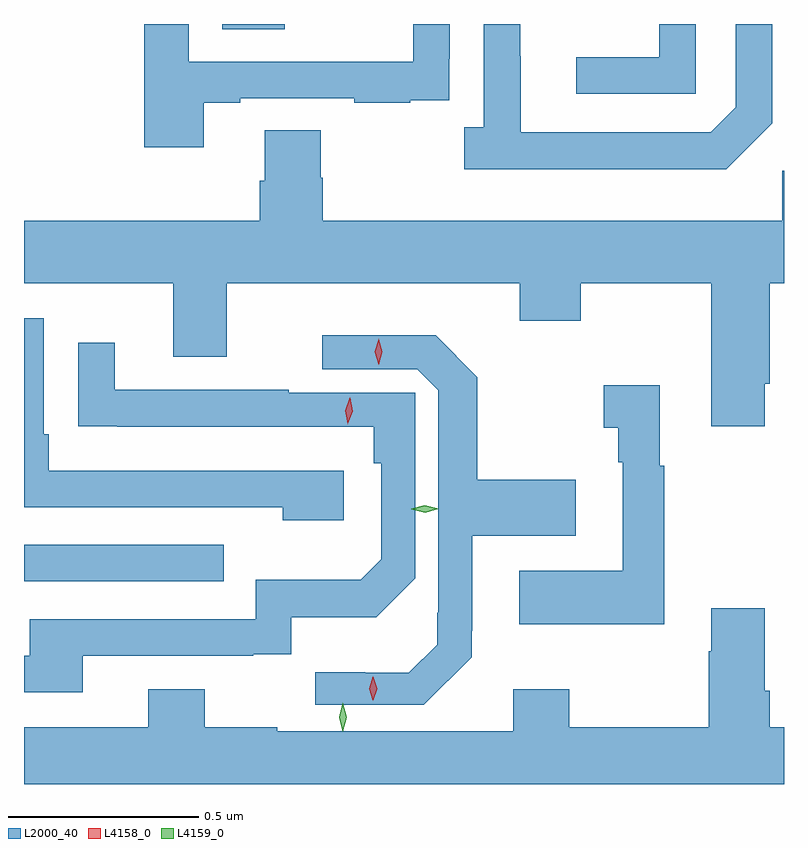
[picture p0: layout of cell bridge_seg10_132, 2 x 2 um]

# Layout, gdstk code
import gdstk
lib = gdstk.Library(unit=1e-6, precision=1e-09)
def R(c, l, rs):  # rectangles x0, y0, x1, y1
    for r in rs: c.add(gdstk.rectangle(r[:2], r[2:], *l))
def P(c, l, *ps):  # polygons
    for p in ps: c.add(gdstk.Polygon(p, *l))
L2000_40 = (2000, 40)
L4158_0 = (4158, 0)
L4159_0 = (4159, 0)

bridge_seg10_132 = lib.new_cell('bridge_seg10_132')
R(bridge_seg10_132, L2000_40, [(360.824,1315.515,361.349,1315.611), (361.346,1316.968,361.51,1316.982)])
P(bridge_seg10_132, L2000_40, [(362.793,1316.721),(362.793,1316.982),(362.697,1316.982),(362.697,1316.763),(362.631,1316.697),(362.131,1316.697),(362.131,1316.897),(362.13,1316.897),(362.13,1316.982),(362.034,1316.982),(362.034,1316.71),(361.983,1316.71),(361.983,1316.6),(362.672,1316.6)],
  [(362.592,1316.982),(362.496,1316.982),(362.496,1316.895),(362.277,1316.895),(362.277,1316.799),(362.592,1316.799)],
  [(361.297,1316.775),(361.393,1316.775),(361.393,1316.787),(361.693,1316.787),(361.693,1316.775),(361.841,1316.775),(361.841,1316.781),(361.943,1316.781),(361.943,1316.89),(361.944,1316.89),(361.944,1316.982),(361.848,1316.982),(361.848,1316.883),(361.257,1316.883),(361.257,1316.982),(361.141,1316.982),(361.141,1316.658),(361.297,1316.658)],
  [(362.773,1316.035),(362.786,1316.035),(362.786,1316.3),(362.824,1316.3),(362.824,1316.596),(362.82,1316.596),(362.82,1316.464),(361.61,1316.464),(361.61,1316.577),(361.605,1316.577),(361.605,1316.702),(361.457,1316.702),(361.457,1316.57),(361.445,1316.57),(361.445,1316.464),(360.824,1316.464),(360.824,1316.3),(361.217,1316.3),(361.217,1316.106),(361.357,1316.106),(361.357,1316.3),(362.129,1316.3),(362.129,1316.201),(362.289,1316.201),(362.289,1316.3),(362.633,1316.3),(362.633,1315.923),(362.773,1315.923)],
  [(361.666,1315.806),(360.889,1315.806),(360.889,1315.903),(360.876,1315.903),(360.876,1316.208),(360.824,1316.208),(360.824,1315.71),(361.505,1315.71),(361.505,1315.676),(361.666,1315.676)],
  [(362.002,1315.316),(362.002,1315.385),(362.003,1315.385),(362.003,1315.635),(362.276,1315.635),(362.276,1315.783),(362.017,1315.783),(362.017,1316.053),(361.907,1316.163),(361.609,1316.163),(361.609,1316.073),(361.859,1316.073),(361.914,1316.018),(361.914,1315.433),(361.912,1315.433),(361.912,1315.349),(361.837,1315.275),(361.722,1315.275),(361.722,1315.276),(361.591,1315.276),(361.591,1315.191),(361.876,1315.191)],
  [(360.979,1315.32),(361.427,1315.32),(361.427,1315.323),(361.527,1315.323),(361.527,1315.421),(361.751,1315.421),(361.853,1315.523),(361.853,1316.012),(361.521,1316.012),(361.521,1316.019),(361.063,1316.019),(361.063,1316.143),(360.967,1316.143),(360.967,1315.924),(361.069,1315.924),(361.069,1315.922),(361.744,1315.922),(361.744,1315.826),(361.764,1315.826),(361.764,1315.573),(361.71,1315.519),(361.434,1315.519),(361.434,1315.416),(360.839,1315.416),(360.839,1315.32),(360.824,1315.32),(360.824,1315.224),(360.979,1315.224)],
  [(362.509,1315.819),(362.497,1315.819),(362.497,1316.032),(362.349,1316.032),(362.349,1315.919),(362.388,1315.919),(362.388,1315.829),(362.4,1315.829),(362.4,1315.543),(362.127,1315.543),(362.127,1315.403),(362.509,1315.403)],
  [(362.824,1315.132),(362.786,1315.132),(362.786,1315.228),(362.773,1315.228),(362.773,1315.444),(362.633,1315.444),(362.633,1315.331),(362.626,1315.331),(362.626,1315.132),(362.259,1315.132),(362.259,1315.231),(362.111,1315.231),(362.111,1315.121),(361.491,1315.121),(361.491,1315.132),(361.299,1315.132),(361.299,1315.231),(361.151,1315.231),(361.151,1315.132),(360.824,1315.132),(360.824,1314.982),(362.824,1314.982)])
P(bridge_seg10_132, L4158_0, [(361.757,1316.085),(361.757,1316.085),(361.747,1316.119),(361.757,1316.153),(361.757,1316.154),(361.757,1316.153),(361.767,1316.119),(361.757,1316.085)],
  [(361.742,1315.202),(361.733,1315.233),(361.742,1315.264),(361.743,1315.264),(361.743,1315.264),(361.753,1315.233),(361.743,1315.202),(361.743,1315.202)],
  [(361.676,1315.929),(361.676,1315.93),(361.669,1315.964),(361.681,1315.998),(361.681,1315.998),(361.682,1315.998),(361.689,1315.963),(361.676,1315.93)])
P(bridge_seg10_132, L4159_0, [(361.88,1315.696),(361.843,1315.705),(361.843,1315.705),(361.843,1315.706),(361.879,1315.716),(361.916,1315.706),(361.916,1315.706),(361.916,1315.706)],
  [(361.663,1315.12),(361.663,1315.12),(361.653,1315.158),(361.663,1315.196),(361.663,1315.196),(361.663,1315.196),(361.673,1315.158),(361.663,1315.12)])

lib.write_gds('bridge_seg10_132.gds')
